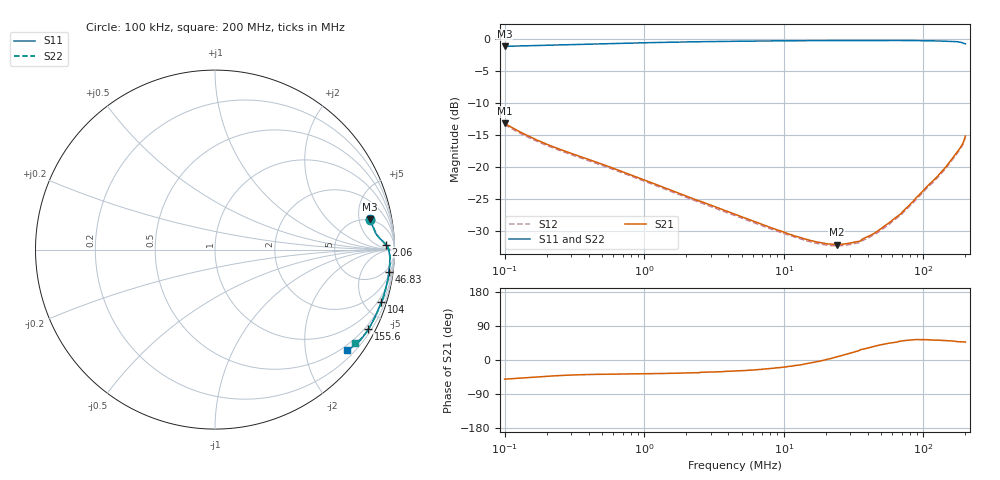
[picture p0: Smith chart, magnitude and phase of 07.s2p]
#  HZ  S  RI  R  50.00
! Rohde & Schwarz Vector Network Analyzer
! Rohde-Schwarz,ZNLE6-2Port,1323001256200024,1.71.1.10-23.02.1.238
! Created: UTC 4/8/2025, 5:49:58 AM
! freq[Hz]  re:S11  im:S11  re:S21  im:S21  re:S12  im:S12  re:S22  im:S22
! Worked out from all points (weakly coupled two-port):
!   1001 points, 100 kHz to 200 MHz, reference 50 ohm
!   highest |S21| = -13.14 dB at 100 kHz (marker M1); lowest = -32.1 dB at 23.99 MHz (marker M2)
!   lowest |S11| = -1.1 dB at 100 kHz (marker M3), VSWR 15.37, Z = 240 + j354 ohm
!   |S11| at or under -10 dB: nowhere
!   |S22| runs from -1.1 to -0.2 dB; largest |S21 - S12| = 0.0051
!   S11 on the Smith chart (normalised r, x): 100 kHz: 4.80, +7.07; 2.06 MHz: 30, +18; 46.83 MHz: 3, -15; 104 MHz: 0.62, -6.46; 155.6 MHz: 0.33, -4.07; 200 MHz: 0.40, -2.92
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100000  0.8614 0.1692  0.1399 -0.1702  0.1361 -0.1669  0.8651 0.1658
137607.9  0.8772 0.1323  0.1238 -0.1333  0.1206 -0.1307  0.8805 0.1297
178187.9  0.8866 0.1102  0.1144 -0.1112  0.1115 -0.1091  0.8894 0.1081
355854.1  0.9071 0.0741  0.0937 -0.0753  0.0914 -0.0737  0.9094 0.0726
1266322  0.9418 0.0388  0.0585 -0.0422  0.0571 -0.0413  0.9432 0.0381
2059728  0.9513 0.0279  0.0487 -0.033  0.0475 -0.0323  0.9524 0.0276
4472136  0.9627 0.00999  0.0375 -0.0209  0.0363 -0.0208  0.9642 0.0121
1.071849e7  0.9713 -0.0162  0.0289 -0.00889  0.028 -0.0097  0.9719 -0.0136
1.591428e7  0.973 -0.0334  0.0264 -0.00337  0.0257 -0.00363  0.974 -0.0302
2.029644e7  0.9739 -0.0475  0.0252 0.000646  0.0246 -0.000121  0.9747 -0.0431
2.399068e7  0.9737 -0.0589  0.0246 0.00358  0.024 0.00293  0.9748 -0.0537
3.429186e7  0.9721 -0.09  0.024 0.0108  0.0234 0.0103  0.9736 -0.0831
4.683098e7  0.9685 -0.1267  0.0249 0.0195  0.0245 0.0187  0.9707 -0.1172
5.663162e7  0.9644 -0.1555  0.0263 0.0257  0.0261 0.0244  0.9673 -0.1437
6.900583e7  0.9566 -0.1913  0.0279 0.0331  0.0279 0.0316  0.9608 -0.1771
8.667956e7  0.944 -0.2411  0.033 0.0452  0.0332 0.0432  0.9499 -0.2238
1.040259e8  0.9271 -0.2912  0.0408 0.0557  0.0409 0.0534  0.9359 -0.2705
1.248436e8  0.9034 -0.3493  0.0512 0.0665  0.0509 0.0642  0.9151 -0.3255
1.55631e8  0.8548 -0.4433  0.0705 0.0859  0.0698 0.0829  0.875 -0.4078
1.704937e8  0.8237 -0.4873  0.0837 0.0958  0.0832 0.0923  0.8507 -0.4501
1.83958e8  0.7859 -0.5277  0.0956 0.1054  0.095 0.1017  0.8213 -0.488
2e8  0.7336 -0.5567  0.1185 0.1288  0.1172 0.1254  0.7818 -0.5231
